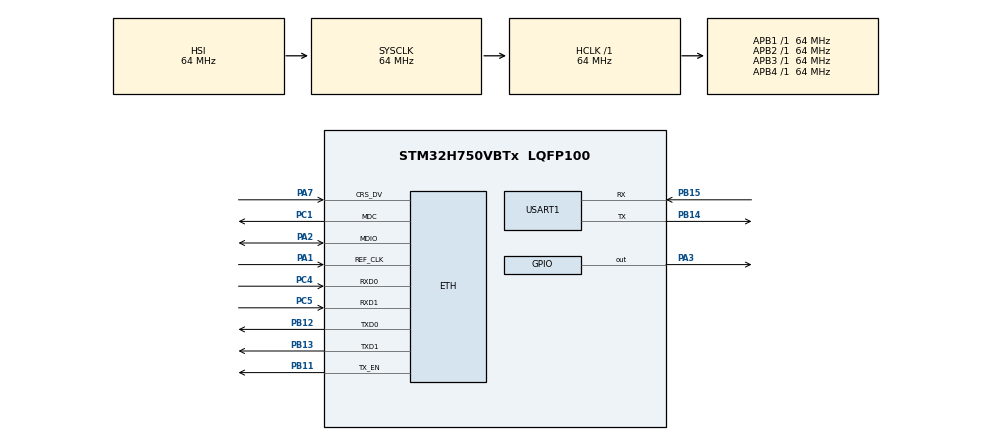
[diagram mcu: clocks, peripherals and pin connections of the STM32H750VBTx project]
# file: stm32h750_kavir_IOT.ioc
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CORTEX_M7.AccessPermission_S-Cortex_Memory_Protection_Unit_Region1_Settings_S=MPU_REGION_FULL_ACCESS
CORTEX_M7.AccessPermission_S-Cortex_Memory_Protection_Unit_Region2_Settings_S=MPU_REGION_FULL_ACCESS
CORTEX_M7.AccessPermission_Spec=MPU_REGION_NO_ACCESS
CORTEX_M7.BaseAddress_S-Cortex_Memory_Protection_Unit_Region1_Settings_S=0x30020000
CORTEX_M7.BaseAddress_S-Cortex_Memory_Protection_Unit_Region2_Settings_S=0x30040000
CORTEX_M7.BaseAddress_Spec=0
CORTEX_M7.CPU_DCache=Enabled
CORTEX_M7.CPU_ICache=Enabled
CORTEX_M7.DisableExec_S-Cortex_Memory_Protection_Unit_Region1_Settings_S=MPU_INSTRUCTION_ACCESS_DISABLE
CORTEX_M7.DisableExec_S-Cortex_Memory_Protection_Unit_Region2_Settings_S=MPU_INSTRUCTION_ACCESS_DISABLE
CORTEX_M7.Enable_S-Cortex_Memory_Protection_Unit_Region1_Settings_S=MPU_REGION_ENABLE
CORTEX_M7.Enable_S-Cortex_Memory_Protection_Unit_Region2_Settings_S=MPU_REGION_ENABLE
CORTEX_M7.IsBufferable_S-Cortex_Memory_Protection_Unit_Region1_Settings_S=MPU_ACCESS_NOT_BUFFERABLE
CORTEX_M7.IsBufferable_S-Cortex_Memory_Protection_Unit_Region2_Settings_S=MPU_ACCESS_BUFFERABLE
CORTEX_M7.IsShareable_S-Cortex_Memory_Protection_Unit_Region1_Settings_S=MPU_ACCESS_NOT_SHAREABLE
CORTEX_M7.IsShareable_S-Cortex_Memory_Protection_Unit_Region2_Settings_S=MPU_ACCESS_SHAREABLE
CORTEX_M7.IsShareable_Spec=MPU_ACCESS_SHAREABLE
CORTEX_M7.Size_S-Cortex_Memory_Protection_Unit_Region1_Settings_S=MPU_REGION_SIZE_128KB
CORTEX_M7.Size_S-Cortex_Memory_Protection_Unit_Region2_Settings_S=MPU_REGION_SIZE_512B
CORTEX_M7.Size_Spec=MPU_REGION_SIZE_4GB
CORTEX_M7.SubRegionDisable_Spec=0x87
CORTEX_M7.TypeExtField_S-Cortex_Memory_Protection_Unit_Region1_Settings_S=MPU_TEX_LEVEL1
CORTEX_M7.TypeExtField_Spec=MPU_TEX_LEVEL0
CORTEX_M7.default_mode_Activation=1
ETH.MediaInterface=HAL_ETH_RMII_MODE
ETH.RxBuffLen=1524
ETH.RxBufferAddress=0x30040200
ETH.RxDescAddress=0x30040000
ETH.TxDescAddress=0x30040060
FREERTOS.Tasks01=defaultTask,24,254,StartDefaultTask,As weak,NULL,Dynamic,NULL,NULL;ledTask,8,256,ledStartTask,As weak,NULL,Dynamic,NULL,NULL;LwIPTaskName,8,2048,LwIPTask,As weak,NULL,Dynamic,NULL,NULL
FREERTOS.configCHECK_FOR_STACK_OVERFLOW=1
FREERTOS.configRECORD_STACK_HIGH_ADDRESS=1
LWIP.BSP.number=1
LWIP.HTTPD_USE_CUSTOM_FSDATA=1
LWIP.IP_ADDRESS=192.168.010.010
LWIP.LWIP_DHCP=0
LWIP.LWIP_HTTPD=1
LWIP.LWIP_HTTPD_CGI=1
LWIP.LWIP_HTTPD_SSI=1
LWIP.LWIP_RAM_HEAP_POINTER=0x30020000
LWIP.MEM_SIZE=131048
LWIP.NETMASK_ADDRESS=255.255.255.000
LWIP.Version=v2.1.2_Cube
LWIP0.BSP.STBoard=false
LWIP0.BSP.api=BSP_COMPONENT_DRIVER
LWIP0.BSP.component=LAN8742
LWIP0.BSP.instance=LAN8742
LWIP0.BSP.name=Driver_PHY
LWIP0.BSP.semaphore=S_LAN8742
LWIP0.BSP.solution=LAN8742
Mcu.Family=STM32H7
Mcu.Name=STM32H750VBTx
Mcu.Package=LQFP100
NVIC.ETH_IRQn=true\:5\:0\:false\:false\:true\:true\:true\:true\:true
NVIC.PriorityGroup=NVIC_PRIORITYGROUP_4
NVIC.TIM1_UP_IRQn=true\:5\:0\:true\:false\:true\:false\:false\:true\:true
NVIC.TimeBase=TIM1_UP_IRQn
NVIC.TimeBaseIP=TIM1
NVIC.USART1_IRQn=true\:5\:0\:false\:false\:true\:true\:true\:true\:true
PA1.GPIO_Speed_Default_HIGH=GPIO_SPEED_FREQ_VERY_HIGH
PA1.Mode=RMII
PA1.Signal=ETH_REF_CLK
PA13\ (JTMS/SWDIO).Mode=Trace_Asynchronous_SW
PA13\ (JTMS/SWDIO).Signal=DEBUG_JTMS-SWDIO
PA14\ (JTCK/SWCLK).Mode=Trace_Asynchronous_SW
PA14\ (JTCK/SWCLK).Signal=DEBUG_JTCK-SWCLK
PA2.GPIO_Speed_Default_HIGH=GPIO_SPEED_FREQ_VERY_HIGH
PA2.Mode=RMII
PA2.Signal=ETH_MDIO
PA3.Signal=GPIO_Output
PA7.GPIO_Speed_Default_HIGH=GPIO_SPEED_FREQ_VERY_HIGH
PA7.Mode=RMII
PA7.Signal=ETH_CRS_DV
PB10.Signal=ETH_RX_ER
PB11.GPIO_Speed_Default_HIGH=GPIO_SPEED_FREQ_VERY_HIGH
PB11.Mode=RMII
PB11.Signal=ETH_TX_EN
PB12.GPIO_Speed_Default_HIGH=GPIO_SPEED_FREQ_VERY_HIGH
PB12.Mode=RMII
PB12.Signal=ETH_TXD0
PB13.GPIO_Speed_Default_HIGH=GPIO_SPEED_FREQ_VERY_HIGH
PB13.Mode=RMII
PB13.Signal=ETH_TXD1
PB14.Mode=Asynchronous
PB14.Signal=USART1_TX
PB15.Mode=Asynchronous
PB15.Signal=USART1_RX
PB3\ (JTDO/TRACESWO).Mode=Trace_Asynchronous_SW
PB3\ (JTDO/TRACESWO).Signal=DEBUG_JTDO-SWO
PC1.GPIO_Speed_Default_HIGH=GPIO_SPEED_FREQ_LOW
PC1.Mode=RMII
PC1.Signal=ETH_MDC
PC4.GPIO_Speed_Default_HIGH=GPIO_SPEED_FREQ_VERY_HIGH
PC4.Mode=RMII
PC4.Signal=ETH_RXD0
PC5.GPIO_Speed_Default_HIGH=GPIO_SPEED_FREQ_VERY_HIGH
PC5.Mode=RMII
PC5.Signal=ETH_RXD1
ProjectManager.HeapSize=0x200
ProjectManager.StackSize=0x400
ProjectManager.TargetToolchain=MDK-ARM V5.32
RCC.ADCFreq_Value=129000000
RCC.APB1Freq_Value=64000000
RCC.APB2Freq_Value=64000000
RCC.APB3Freq_Value=64000000
RCC.APB4Freq_Value=64000000
RCC.CortexFreq_Value=64000000
RCC.DIVQ2=6
RCC.HCLKFreq_Value=64000000
RCC.SYSCLKFreq_VALUE=64000000
RCC.USART16CLockSelection=RCC_USART16CLKSOURCE_PLL2
RCC.USBFreq_Value=129000000
USART1.VirtualMode-Asynchronous=VM_ASYNC
VP_FREERTOS_VS_CMSIS_V2.Mode=CMSIS_V2
VP_LWIP_VS_Enabled.Mode=Enabled
VP_MEMORYMAP_VS_MEMORYMAP.Mode=CurAppReg
VP_SYS_VS_tim1.Mode=TIM1
board=custom

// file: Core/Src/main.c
/* USER CODE BEGIN Header */
/**
  ******************************************************************************
  * @file           : main.c
  * @brief          : Main program body
  ******************************************************************************
  * @attention
  *
  * Copyright (c) 2026 STMicroelectronics.
  * All rights reserved.
  *
  * This software is licensed under terms that can be found in the LICENSE file
  * in the root directory of this software component.
  * If no LICENSE file comes with this software, it is provided AS-IS.
  *
  ******************************************************************************
  */
/* USER CODE END Header */
#include "main.h"
#include "cmsis_os.h"
#include "lwip.h"

/* USER CODE BEGIN Includes */
#include "lwip/sockets.h"
#include "lwip/inet.h"
#include "lwip/netdb.h"
#include <stdio.h>
#include "SEGGER_RTT.h"
//#include "trcRecorder.h"
/* USER CODE END Includes */

UART_HandleTypeDef huart1;

/* Definitions for defaultTask */
osThreadId_t defaultTaskHandle;
const osThreadAttr_t defaultTask_attributes = {
  .name = "defaultTask",
  .stack_size = 254 * 4,
  .priority = (osPriority_t) osPriorityNormal,
};
/* Definitions for ledTask */
osThreadId_t ledTaskHandle;
const osThreadAttr_t ledTask_attributes = {
  .name = "ledTask",
  .stack_size = 256 * 4,
  .priority = (osPriority_t) osPriorityLow,
};
/* Definitions for LwIPTaskName */
osThreadId_t LwIPTaskNameHandle;
const osThreadAttr_t LwIPTaskName_attributes = {
  .name = "LwIPTaskName",
  .stack_size = 2048 * 4,
  .priority = (osPriority_t) osPriorityLow,
};
/* USER CODE BEGIN PV */

volatile int _Cnt;
uint32_t counter_rtt = 0;
/* USER CODE END PV */

void SystemClock_Config(void);
static void MPU_Config(void);
static void MX_GPIO_Init(void);
static void MX_USART1_UART_Init(void);
void StartDefaultTask(void *argument);
void ledStartTask(void *argument);
void LwIPTask(void *argument);

/* USER CODE BEGIN PFP */
UBaseType_t uxHighWaterMark;
#ifdef __GNUC__
      #define PUTCHAR_PROTOTYPE int __io_putchar(int ch)
#else
      #define PUTCHAR_PROTOTYPE int fputc(int ch, FILE *f)
#endif

      PUTCHAR_PROTOTYPE
      {
            HAL_UART_Transmit(&huart1, (uint8_t*)&ch, 1, 0xFFFF);
//          SEGGER_RTT_Write(0, (const char*)&ch, 1);

            return ch;
	  }
/* USER CODE END PFP */

/* USER CODE BEGIN 0 */
void RTT_start(void)
{
//	SEGGER_RTT_ConfigUpBuffer(0, NULL, NULL, 0, SEGGER_RTT_MODE_BLOCK_IF_FIFO_FULL);
}

void RTT_Test(void)
{
//  SEGGER_RTT_WriteString(0, "SEGGER Real-Time-Terminal Sample\r\n\r\n");
//  SEGGER_RTT_WriteString(0, "###### Testing SEGGER_printf() ######\r\n");
//	SEGGER_RTT_printf(0, "counter: %d\r\n", counter_rtt);
//  SEGGER_RTT_printf(0, "printf Test: %%c,         'S' : %c.\r\n", 'S');
//  SEGGER_RTT_printf(0, "printf Test: %%5c,        'E' : %5c.\r\n", 'E');
//  SEGGER_RTT_printf(0, "printf Test: %%-5c,       'G' : %-5c.\r\n", 'G');
//  SEGGER_RTT_printf(0, "printf Test: %%5.3c,      'G' : %-5c.\r\n", 'G');
//  SEGGER_RTT_printf(0, "printf Test: %%.3c,       'E' : %-5c.\r\n", 'E');
//  SEGGER_RTT_printf(0, "printf Test: %%c,         'R' : %c.\r\n", 'R');

//  SEGGER_RTT_printf(0, "printf Test: %%s,      \"RTT\" : %s.\r\n", "RTT");
//  SEGGER_RTT_printf(0, "printf Test: %%s, \"RTT\\r\\nRocks.\" : %s.\r\n", "RTT\r\nRocks.");

//  SEGGER_RTT_printf(0, "printf Test: %%u,       12345 : %u.\r\n", 12345);
//  SEGGER_RTT_printf(0, "printf Test: %%+u,      12345 : %+u.\r\n", 12345);
//  SEGGER_RTT_printf(0, "printf Test: %%.3u,     12345 : %.3u.\r\n", 12345);
//  SEGGER_RTT_printf(0, "printf Test: %%.6u,     12345 : %.6u.\r\n", 12345);
//  SEGGER_RTT_printf(0, "printf Test: %%6.3u,    12345 : %6.3u.\r\n", 12345);
//  SEGGER_RTT_printf(0, "printf Test: %%8.6u,    12345 : %8.6u.\r\n", 12345);
//  SEGGER_RTT_printf(0, "printf Test: %%08u,     12345 : %08u.\r\n", 12345);
//  SEGGER_RTT_printf(0, "printf Test: %%08.6u,   12345 : %08.6u.\r\n", 12345);
//  SEGGER_RTT_printf(0, "printf Test: %%0u,      12345 : %0u.\r\n", 12345);
//  SEGGER_RTT_printf(0, "printf Test: %%-.6u,    12345 : %-.6u.\r\n", 12345);
//  SEGGER_RTT_printf(0, "printf Test: %%-6.3u,   12345 : %-6.3u.\r\n", 12345);
//  SEGGER_RTT_printf(0, "printf Test: %%-8.6u,   12345 : %-8.6u.\r\n", 12345);
//  SEGGER_RTT_printf(0, "printf Test: %%-08u,    12345 : %-08u.\r\n", 12345);
//  SEGGER_RTT_printf(0, "printf Test: %%-08.6u,  12345 : %-08.6u.\r\n", 12345);
//  SEGGER_RTT_printf(0, "printf Test: %%-0u,     12345 : %-0u.\r\n", 12345);

//  SEGGER_RTT_printf(0, "printf Test: %%u,      -12345 : %u.\r\n", -12345);
//  SEGGER_RTT_printf(0, "printf Test: %%+u,     -12345 : %+u.\r\n", -12345);
//  SEGGER_RTT_printf(0, "printf Test: %%.3u,    -12345 : %.3u.\r\n", -12345);
//  SEGGER_RTT_printf(0, "printf Test: %%.6u,    -12345 : %.6u.\r\n", -12345);
//  SEGGER_RTT_printf(0, "printf Test: %%6.3u,   -12345 : %6.3u.\r\n", -12345);
//  SEGGER_RTT_printf(0, "printf Test: %%8.6u,   -12345 : %8.6u.\r\n", -12345);
//  SEGGER_RTT_printf(0, "printf Test: %%08u,    -12345 : %08u.\r\n", -12345);
//  SEGGER_RTT_printf(0, "printf Test: %%08.6u,  -12345 : %08.6u.\r\n", -12345);
//  SEGGER_RTT_printf(0, "printf Test: %%0u,     -12345 : %0u.\r\n", -12345);
//  SEGGER_RTT_printf(0, "printf Test: %%-.6u,   -12345 : %-.6u.\r\n", -12345);
//  SEGGER_RTT_printf(0, "printf Test: %%-6.3u,  -12345 : %-6.3u.\r\n", -12345);
//  SEGGER_RTT_printf(0, "printf Test: %%-8.6u,  -12345 : %-8.6u.\r\n", -12345);
//  SEGGER_RTT_printf(0, "printf Test: %%-08u,   -12345 : %-08u.\r\n", -12345);
//  SEGGER_RTT_printf(0, "printf Test: %%-08.6u, -12345 : %-08.6u.\r\n", -12345);
//  SEGGER_RTT_printf(0, "printf Test: %%-0u,    -12345 : %-0u.\r\n", -12345);

//  SEGGER_RTT_printf(0, "printf Test: %%d,      -12345 : %d.\r\n", -12345);
//  SEGGER_RTT_printf(0, "printf Test: %%+d,     -12345 : %+d.\r\n", -12345);
//  SEGGER_RTT_printf(0, "printf Test: %%.3d,    -12345 : %.3d.\r\n", -12345);
//  SEGGER_RTT_printf(0, "printf Test: %%.6d,    -12345 : %.6d.\r\n", -12345);
//  SEGGER_RTT_printf(0, "printf Test: %%6.3d,   -12345 : %6.3d.\r\n", -12345);
//  SEGGER_RTT_printf(0, "printf Test: %%8.6d,   -12345 : %8.6d.\r\n", -12345);
//  SEGGER_RTT_printf(0, "printf Test: %%08d,    -12345 : %08d.\r\n", -12345);
//  SEGGER_RTT_printf(0, "printf Test: %%08.6d,  -12345 : %08.6d.\r\n", -12345);
//  SEGGER_RTT_printf(0, "printf Test: %%0d,     -12345 : %0d.\r\n", -12345);
//  SEGGER_RTT_printf(0, "printf Test: %%-.6d,   -12345 : %-.6d.\r\n", -12345);
//  SEGGER_RTT_printf(0, "printf Test: %%-6.3d,  -12345 : %-6.3d.\r\n", -12345);
//  SEGGER_RTT_printf(0, "printf Test: %%-8.6d,  -12345 : %-8.6d.\r\n", -12345);
//  SEGGER_RTT_printf(0, "printf Test: %%-08d,   -12345 : %-08d.\r\n", -12345);
//  SEGGER_RTT_printf(0, "printf Test: %%-08.6d, -12345 : %-08.6d.\r\n", -12345);
//  SEGGER_RTT_printf(0, "printf Test: %%-0d,    -12345 : %-0d.\r\n", -12345);

//  SEGGER_RTT_printf(0, "printf Test: %%x,      0x1234ABC : %x.\r\n", 0x1234ABC);
//  SEGGER_RTT_printf(0, "printf Test: %%+x,     0x1234ABC : %+x.\r\n", 0x1234ABC);
//  SEGGER_RTT_printf(0, "printf Test: %%.3x,    0x1234ABC : %.3x.\r\n", 0x1234ABC);
//  SEGGER_RTT_printf(0, "printf Test: %%.6x,    0x1234ABC : %.6x.\r\n", 0x1234ABC);
//  SEGGER_RTT_printf(0, "printf Test: %%6.3x,   0x1234ABC : %6.3x.\r\n", 0x1234ABC);
//  SEGGER_RTT_printf(0, "printf Test: %%8.6x,   0x1234ABC : %8.6x.\r\n", 0x1234ABC);
//  SEGGER_RTT_printf(0, "printf Test: %%08x,    0x1234ABC : %08x.\r\n", 0x1234ABC);
//  SEGGER_RTT_printf(0, "printf Test: %%08.6x,  0x1234ABC : %08.6x.\r\n", 0x1234ABC);
//  SEGGER_RTT_printf(0, "printf Test: %%0x,     0x1234ABC : %0x.\r\n", 0x1234ABC);
//  SEGGER_RTT_printf(0, "printf Test: %%-.6x,   0x1234ABC : %-.6x.\r\n", 0x1234ABC);
//  SEGGER_RTT_printf(0, "printf Test: %%-6.3x,  0x1234ABC : %-6.3x.\r\n", 0x1234ABC);
//  SEGGER_RTT_printf(0, "printf Test: %%-8.6x,  0x1234ABC : %-8.6x.\r\n", 0x1234ABC);
//  SEGGER_RTT_printf(0, "printf Test: %%-08x,   0x1234ABC : %-08x.\r\n", 0x1234ABC);
//  SEGGER_RTT_printf(0, "printf Test: %%-08.6x, 0x1234ABC : %-08.6x.\r\n", 0x1234ABC);
//  SEGGER_RTT_printf(0, "printf Test: %%-0x,    0x1234ABC : %-0x.\r\n", 0x1234ABC);

//  SEGGER_RTT_printf(0, "printf Test: %%p,      &_Cnt      : %p.\r\n", &_Cnt);

//  SEGGER_RTT_WriteString(0, "###### SEGGER_printf() Tests done. ######\r\n");
}
/* USER CODE END 0 */

int main(void)
{

  /* USER CODE BEGIN 1 */
//	xTraceInitialize();
  /* USER CODE END 1 */

  /* MPU Configuration--------------------------------------------------------*/
  MPU_Config();

  /* Enable the CPU Cache */

  /* Enable I-Cache---------------------------------------------------------*/
  SCB_EnableICache();

  /* Enable D-Cache---------------------------------------------------------*/
  SCB_EnableDCache();

  /* MCU Configuration--------------------------------------------------------*/

  /* Reset of all peripherals, Initializes the Flash interface and the Systick. */
  HAL_Init();

  /* Configure the system clock */
  SystemClock_Config();

  /* Initialize all configured peripherals */
  MX_GPIO_Init();
  MX_USART1_UART_Init();
  /* USER CODE BEGIN 2 */
	RTT_start();
  /* USER CODE END 2 */

  /* Init scheduler */
  osKernelInitialize();

  /* Create the thread(s) */
  /* creation of defaultTask */
  defaultTaskHandle = osThreadNew(StartDefaultTask, NULL, &defaultTask_attributes);

  /* creation of ledTask */
  ledTaskHandle = osThreadNew(ledStartTask, NULL, &ledTask_attributes);

  /* creation of LwIPTaskName */
  LwIPTaskNameHandle = osThreadNew(LwIPTask, NULL, &LwIPTaskName_attributes);

  /* Start scheduler */
  osKernelStart();

  /* We should never get here as control is now taken by the scheduler */

  /* Infinite loop */
  while (1)
  {

  }
}

void SystemClock_Config(void)
{
  RCC_OscInitTypeDef RCC_OscInitStruct = {0};
  RCC_ClkInitTypeDef RCC_ClkInitStruct = {0};

  /** Supply configuration update enable
  */
  HAL_PWREx_ConfigSupply(PWR_LDO_SUPPLY);

  /** Configure the main internal regulator output voltage
  */
  __HAL_PWR_VOLTAGESCALING_CONFIG(PWR_REGULATOR_VOLTAGE_SCALE3);

  while(!__HAL_PWR_GET_FLAG(PWR_FLAG_VOSRDY)) {}

  /** Macro to configure the PLL clock source
  */
  __HAL_RCC_PLL_PLLSOURCE_CONFIG(RCC_PLLSOURCE_HSI);

  /** Initializes the RCC Oscillators according to the specified parameters
  * in the RCC_OscInitTypeDef structure.
  */
  RCC_OscInitStruct.OscillatorType = RCC_OSCILLATORTYPE_HSI;
  RCC_OscInitStruct.HSIState = RCC_HSI_DIV1;
  RCC_OscInitStruct.HSICalibrationValue = RCC_HSICALIBRATION_DEFAULT;
  RCC_OscInitStruct.PLL.PLLState = RCC_PLL_NONE;
  if (HAL_RCC_OscConfig(&RCC_OscInitStruct) != HAL_OK)
  {
    Error_Handler();
  }

  /** Initializes the CPU, AHB and APB buses clocks
  */
  RCC_ClkInitStruct.ClockType = RCC_CLOCKTYPE_HCLK|RCC_CLOCKTYPE_SYSCLK
                              |RCC_CLOCKTYPE_PCLK1|RCC_CLOCKTYPE_PCLK2
                              |RCC_CLOCKTYPE_D3PCLK1|RCC_CLOCKTYPE_D1PCLK1;
  RCC_ClkInitStruct.SYSCLKSource = RCC_SYSCLKSOURCE_HSI;
  RCC_ClkInitStruct.SYSCLKDivider = RCC_SYSCLK_DIV1;
  RCC_ClkInitStruct.AHBCLKDivider = RCC_HCLK_DIV1;
  RCC_ClkInitStruct.APB3CLKDivider = RCC_APB3_DIV1;
  RCC_ClkInitStruct.APB1CLKDivider = RCC_APB1_DIV1;
  RCC_ClkInitStruct.APB2CLKDivider = RCC_APB2_DIV1;
  RCC_ClkInitStruct.APB4CLKDivider = RCC_APB4_DIV1;

  if (HAL_RCC_ClockConfig(&RCC_ClkInitStruct, FLASH_LATENCY_1) != HAL_OK)
  {
    Error_Handler();
  }
}

static void MX_USART1_UART_Init(void)
{

  huart1.Instance = USART1;
  huart1.Init.BaudRate = 115200;
  huart1.Init.WordLength = UART_WORDLENGTH_8B;
  huart1.Init.StopBits = UART_STOPBITS_1;
  huart1.Init.Parity = UART_PARITY_NONE;
  huart1.Init.Mode = UART_MODE_TX_RX;
  huart1.Init.HwFlowCtl = UART_HWCONTROL_NONE;
  huart1.Init.OverSampling = UART_OVERSAMPLING_16;
  huart1.Init.OneBitSampling = UART_ONE_BIT_SAMPLE_DISABLE;
  huart1.Init.ClockPrescaler = UART_PRESCALER_DIV1;
  huart1.AdvancedInit.AdvFeatureInit = UART_ADVFEATURE_NO_INIT;
  if (HAL_UART_Init(&huart1) != HAL_OK)
  {
    Error_Handler();
  }
  if (HAL_UARTEx_SetTxFifoThreshold(&huart1, UART_TXFIFO_THRESHOLD_1_8) != HAL_OK)
  {
    Error_Handler();
  }
  if (HAL_UARTEx_SetRxFifoThreshold(&huart1, UART_RXFIFO_THRESHOLD_1_8) != HAL_OK)
  {
    Error_Handler();
  }
  if (HAL_UARTEx_DisableFifoMode(&huart1) != HAL_OK)
  {
    Error_Handler();
  }

}

static void MX_GPIO_Init(void)
{
  GPIO_InitTypeDef GPIO_InitStruct = {0};

  /* GPIO Ports Clock Enable */
  __HAL_RCC_GPIOC_CLK_ENABLE();
  __HAL_RCC_GPIOA_CLK_ENABLE();
  __HAL_RCC_GPIOB_CLK_ENABLE();

  /*Configure GPIO pin Output Level */
  HAL_GPIO_WritePin(GPIOA, GPIO_PIN_3, GPIO_PIN_RESET);

  /*Configure GPIO pin : PA3 */
  GPIO_InitStruct.Pin = GPIO_PIN_3;
  GPIO_InitStruct.Mode = GPIO_MODE_OUTPUT_PP;
  GPIO_InitStruct.Pull = GPIO_NOPULL;
  GPIO_InitStruct.Speed = GPIO_SPEED_FREQ_LOW;
  HAL_GPIO_Init(GPIOA, &GPIO_InitStruct);

}

__weak void StartDefaultTask(void *argument)
{
  /* init code for LWIP */
  MX_LWIP_Init();
  /* USER CODE BEGIN 5 */
  /* Infinite loop */
  for(;;)
  {
    osDelay(1000);
  }
  /* USER CODE END 5 */
}

__weak void ledStartTask(void *argument)
{
  /* USER CODE BEGIN ledStartTask */
  /* Infinite loop */
  for(;;)
  {

    osDelay(1000);
  }
  /* USER CODE END ledStartTask */
}

__weak void LwIPTask(void *argument)
{
  for(;;)
  {
    osDelay(1);
  }
}

 /* MPU Configuration */

void MPU_Config(void)
{
  MPU_Region_InitTypeDef MPU_InitStruct = {0};

  /* Disables the MPU */
  HAL_MPU_Disable();

  /** Initializes and configures the Region and the memory to be protected
  */
  MPU_InitStruct.Enable = MPU_REGION_ENABLE;
  MPU_InitStruct.Number = MPU_REGION_NUMBER0;
  MPU_InitStruct.BaseAddress = 0;
  MPU_InitStruct.Size = MPU_REGION_SIZE_4GB;
  MPU_InitStruct.SubRegionDisable = 0x87;
  MPU_InitStruct.TypeExtField = MPU_TEX_LEVEL0;
  MPU_InitStruct.AccessPermission = MPU_REGION_NO_ACCESS;
  MPU_InitStruct.DisableExec = MPU_INSTRUCTION_ACCESS_DISABLE;
  MPU_InitStruct.IsShareable = MPU_ACCESS_SHAREABLE;
  MPU_InitStruct.IsCacheable = MPU_ACCESS_NOT_CACHEABLE;
  MPU_InitStruct.IsBufferable = MPU_ACCESS_NOT_BUFFERABLE;

  HAL_MPU_ConfigRegion(&MPU_InitStruct);

  /** Initializes and configures the Region and the memory to be protected
  */
  MPU_InitStruct.Number = MPU_REGION_NUMBER1;
  MPU_InitStruct.BaseAddress = 0x30020000;
  MPU_InitStruct.Size = MPU_REGION_SIZE_128KB;
  MPU_InitStruct.SubRegionDisable = 0x0;
  MPU_InitStruct.TypeExtField = MPU_TEX_LEVEL1;
  MPU_InitStruct.AccessPermission = MPU_REGION_FULL_ACCESS;
  MPU_InitStruct.IsShareable = MPU_ACCESS_NOT_SHAREABLE;

  HAL_MPU_ConfigRegion(&MPU_InitStruct);

  /** Initializes and configures the Region and the memory to be protected
  */
  MPU_InitStruct.Number = MPU_REGION_NUMBER2;
  MPU_InitStruct.BaseAddress = 0x30040000;
  MPU_InitStruct.Size = MPU_REGION_SIZE_512B;
  MPU_InitStruct.TypeExtField = MPU_TEX_LEVEL0;
  MPU_InitStruct.IsShareable = MPU_ACCESS_SHAREABLE;
  MPU_InitStruct.IsBufferable = MPU_ACCESS_BUFFERABLE;

  HAL_MPU_ConfigRegion(&MPU_InitStruct);
  /* Enables the MPU */
  HAL_MPU_Enable(MPU_PRIVILEGED_DEFAULT);

}

void HAL_TIM_PeriodElapsedCallback(TIM_HandleTypeDef *htim)
{
  if (htim->Instance == TIM1)
  {
    HAL_IncTick();
  }
}

void Error_Handler(void)
{
  __disable_irq();
  while (1)
  {
  }
}

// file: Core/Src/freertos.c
/* USER CODE BEGIN Header */
/**
  ******************************************************************************
  * File Name          : freertos.c
  * Description        : Code for freertos applications
  ******************************************************************************
  * @attention
  *
  * Copyright (c) 2026 STMicroelectronics.
  * All rights reserved.
  *
  * This software is licensed under terms that can be found in the LICENSE file
  * in the root directory of this software component.
  * If no LICENSE file comes with this software, it is provided AS-IS.
  *
  ******************************************************************************
  */
/* USER CODE END Header */

#include "FreeRTOS.h"
#include "task.h"
#include "main.h"
#include "cmsis_os.h"

/* Definitions for defaultTask */
osThreadId_t defaultTaskHandle;
const osThreadAttr_t defaultTask_attributes = {
  .name = "defaultTask",
  .stack_size = 128 * 4,
  .priority = (osPriority_t) osPriorityNormal,
};
/* Definitions for myQueue01 */
osMessageQueueId_t myQueue01Handle;
const osMessageQueueAttr_t myQueue01_attributes = {
  .name = "myQueue01"
};

void StartDefaultTask(void *argument);

extern void MX_LWIP_Init(void);
void MX_FREERTOS_Init(void); /* (MISRA C 2004 rule 8.1) */

void MX_FREERTOS_Init(void) {
  /* USER CODE BEGIN Init */
TaskFunction_t xTaskLED;
	TaskHandle_t xTaskLEDHandle;
  /* USER CODE END Init */

  /* Create the queue(s) */
  /* creation of myQueue01 */
  myQueue01Handle = osMessageQueueNew (16, sizeof(uint16_t), &myQueue01_attributes);

  /* Create the thread(s) */
  /* creation of defaultTask */
  defaultTaskHandle = osThreadNew(StartDefaultTask, NULL, &defaultTask_attributes);

}

void StartDefaultTask(void *argument)
{
  /* init code for LWIP */
  MX_LWIP_Init();
  /* USER CODE BEGIN StartDefaultTask */
  /* Infinite loop */
  for(;;)
  {
//	  HAL_GPIO_TogglePin(GPIOC, GPIO_PIN_13);
//	  osDelay(pdMS_TO_TICKS(1000));

  }
  /* USER CODE END StartDefaultTask */
}
